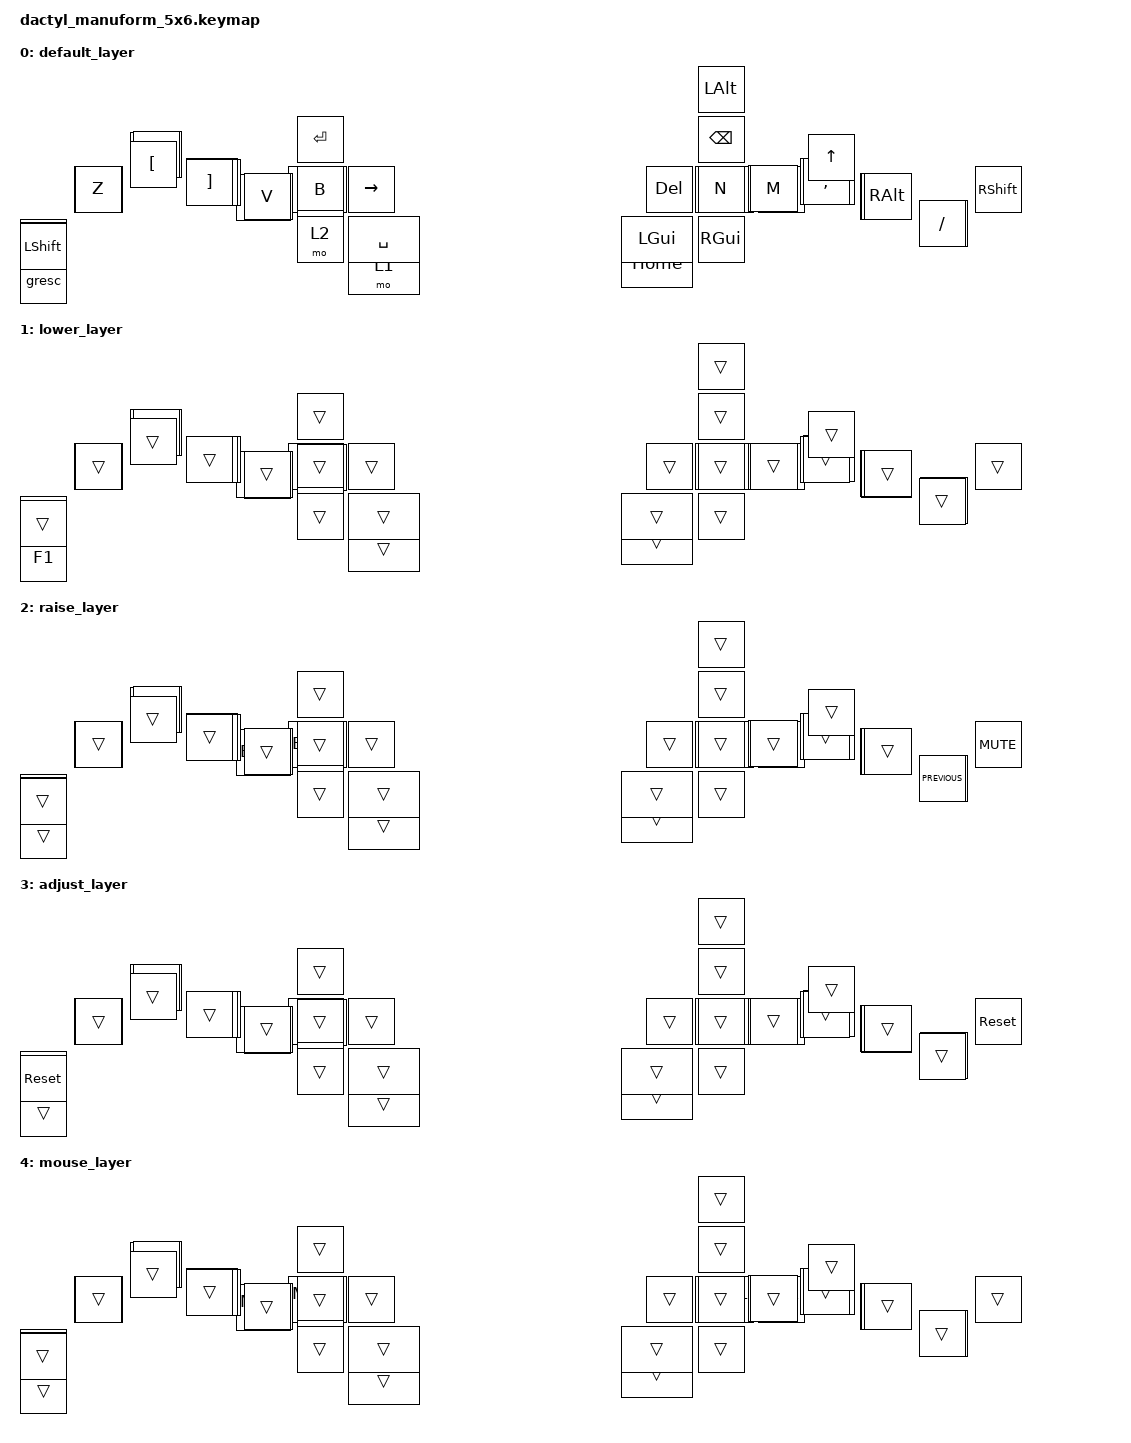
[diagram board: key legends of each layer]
//https://zmk.dev/docs/keymaps/behaviors/outputs#output-command-defines

#include <dt-bindings/zmk/mouse.h>
#include <behaviors.dtsi>
#include <dt-bindings/zmk/bt.h>
#include <dt-bindings/zmk/keys.h>
#include <dt-bindings/zmk/outputs.h>
#include <dt-bindings/zmk/pointing.h>

#define DEFAULT 0
#define LWR 1
#define RSE 2
#define ADJ 3

/ {
    behaviors {
        F2_F5: F2_F5 {
            compatible = "zmk,behavior-tap-dance";
            #binding-cells = <0>;
            bindings = <&kp F2>, <&kp F5>;
        };

        Bracket: Bracket {
            compatible = "zmk,behavior-tap-dance";
            #binding-cells = <0>;
            bindings = <&kp LBKT>, <&kp RBKT>;
        };

        DMP: DMP {
            compatible = "zmk,behavior-tap-dance";
            #binding-cells = <0>;
            bindings = <&kp C_VOL_DN>, <&kp C_MUTE>, <&kp C_PREVIOUS>;
        };

        UPN: UPN {
            compatible = "zmk,behavior-tap-dance";
            #binding-cells = <0>;
            bindings = <&kp C_VOLUME_UP>, <&kp C_PLAY_PAUSE>, <&kp C_NEXT>;
        };

        BSLH_GRV: BSLH_GRV {
            compatible = "zmk,behavior-tap-dance";
            #binding-cells = <0>;
            bindings = <&kp BSLH>, <&kp GRAVE>;
        };

        // Behaviour to cycle through DPI values on a keypress
        /*dpi_cycle: sensor_dpi_cycle {
            compatible = "zmk,behavior-sensor-attr-cycle";
            #binding-cells = <1>;
            bindings = <&kp F2>, <&kp F5>;
            values = < 100 300 600 900 1200 >;
            attr = <0>;
            sensor_device = <&mouse>;
            display-name = "DPI cycle";
            persistant;
        };*/
    };

    combos { compatible = "zmk,combos"; };

    keymap {
        compatible = "zmk,keymap";

        default_layer {
            bindings = <
&gresc     &kp N1  &kp N2    &kp N3     &kp N4  &kp N5                         &kp N6    &kp N7  &kp N8     &kp N9    &kp N0    &kp GRAVE
&kp TAB    &kp Q   &kp W     &kp E      &kp R   &kp T                          &kp Y     &kp U   &kp I      &kp O     &kp P     &kp MINUS
&kp LCTRL  &kp A   &kp S     &kp D      &kp F   &kp G                          &kp H     &kp J   &kp K      &kp L     &kp SEMI  &kp SQT
&kp LSHFT  &kp Z   &kp X     &kp C      &kp V   &kp B                          &kp N     &kp M   &kp COMMA  &kp DOT   &kp FSLH  &kp RSHFT
                   &kp LEFT  &kp RIGHT                                                           &kp LBKT   &kp RBKT
                                        &mo 1   &kp SPACE                      &kp RET   &mo 2
                                                &kp LALT   &kp DEL   &kp UP    &kp RALT
                                                &kp HOME   &kp LGUI  &kp BSPC  &kp RGUI
            >;
        };

        lower_layer {
            bindings = <
&kp F1  &kp F2          &kp F3          &kp F4           &kp F5  &kp F6                  &kp F7  &kp F8    &kp F9    &kp F10    &kp F11  &kp F12
&trans  &trans          &kp UP_ARROW    &trans           &trans  &trans                  &trans  &trans    &kp UP    &trans     &trans   &trans
&trans  &kp LEFT_ARROW  &kp DOWN_ARROW  &kp RIGHT_ARROW  &trans  &trans                  &trans  &kp LEFT  &kp DOWN  &kp RIGHT  &trans   &trans
&trans  &trans          &trans          &trans           &trans  &trans                  &trans  &trans    &trans    &trans     &trans   &trans
                        &trans          &trans                                                             &trans    &trans
                                                         &trans  &trans                  &trans  &trans
                                                                 &trans  &trans  &trans  &trans
                                                                 &trans  &trans  &trans  &trans
            >;
        };

        raise_layer {
            bindings = <
&trans        &bt BT_SEL 0   &bt BT_SEL 1    &bt BT_SEL 2   &bt BT_SEL 3   &bt BT_SEL 4                   &trans  &trans  &trans  &trans  &trans            &trans
&trans        &bt BT_DISC 0  &bt BT_DISC 1   &bt BT_DISC 2  &bt BT_DISC 3  &bt BT_DISC 4                  &trans  &trans  &trans  &trans  &kp C_PLAY_PAUSE  &kp K_VOL_UP
&out OUT_TOG  &bt BT_CLR     &bt BT_CLR_ALL  &bt BT_NXT     &bt BT_PRV     &trans                         &trans  &trans  &trans  &trans  &kp C_NEXT        &kp K_VOL_DN
&trans        &trans         &trans          &trans         &trans         &trans                         &trans  &trans  &trans  &trans  &kp C_PREVIOUS    &kp K_MUTE
                             &trans          &trans                                                                       &trans  &trans
                                                            &trans         &trans                         &trans  &trans
                                                                           &trans         &trans  &trans  &trans
                                                                           &trans         &trans  &trans  &trans
            >;
        };

        adjust_layer {
            bindings = <
&trans          &trans  &trans  &trans  &trans  &trans                  &trans  &trans  &trans  &trans  &trans  &trans
&studio_unlock  &trans  &trans  &trans  &trans  &trans                  &trans  &trans  &trans  &trans  &trans  &trans
&bootloader     &trans  &trans  &trans  &trans  &trans                  &trans  &trans  &trans  &trans  &trans  &bootloader
&sys_reset      &trans  &trans  &trans  &trans  &trans                  &trans  &trans  &trans  &trans  &trans  &sys_reset
                        &trans  &trans                                                  &trans  &trans
                                        &trans  &trans                  &trans  &trans
                                                &trans  &trans  &trans  &trans
                                                &trans  &trans  &trans  &trans
            >;
        };

        mouse_layer {
            bindings = <
&trans  &trans  &trans  &trans  &mkp MB1  &mkp MB2                  &mkp MB1  &mkp MB2  &trans  &trans  &trans  &trans
&trans  &trans  &trans  &trans  &trans    &trans                    &trans    &trans    &trans  &trans  &trans  &trans
&trans  &trans  &trans  &trans  &trans    &trans                    &trans    &trans    &trans  &trans  &trans  &trans
&trans  &trans  &trans  &trans  &trans    &trans                    &trans    &trans    &trans  &trans  &trans  &trans
                &trans  &trans                                                          &trans  &trans
                                &trans    &trans                    &trans    &trans
                                          &trans    &trans  &trans  &trans
                                          &trans    &trans  &trans  &trans
            >;
        };
    };

    conditional_layers {
        compatible = "zmk,conditional-layers";

        condition0 {
            if-layers = <1 2>;
            then-layer = <3>;
        };
    };
};
